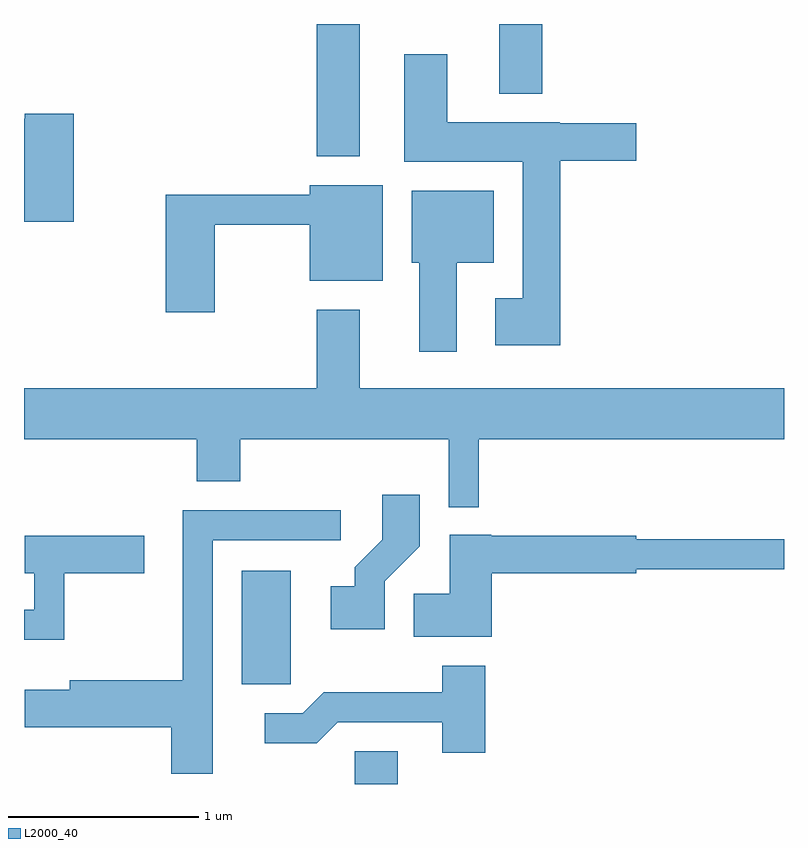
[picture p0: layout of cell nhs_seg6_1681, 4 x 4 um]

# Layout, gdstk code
import gdstk
lib = gdstk.Library(unit=1e-6, precision=1e-09)
def R(c, l, rs):  # rectangles x0, y0, x1, y1
    for r in rs: c.add(gdstk.rectangle(r[:2], r[2:], *l))
def P(c, l, *ps):  # polygons
    for p in ps: c.add(gdstk.Polygon(p, *l))
L2000_40 = (2000, 40)

nhs_seg6_1681 = lib.new_cell('nhs_seg6_1681')
R(nhs_seg6_1681, L2000_40, [(237.351,1608.162,237.579,1608.334), (236.756,1608.686,237.014,1609.284), (237.151,1611.466,237.379,1612.162), (238.111,1611.796,238.339,1612.162)])
P(nhs_seg6_1681, L2000_40, [(238.434,1611.441),(238.834,1611.441),(238.834,1611.639),(238.43,1611.639),(238.43,1611.644),(237.839,1611.644),(237.839,1612.004),(237.611,1612.004),(237.611,1611.436),(238.236,1611.436),(238.236,1610.719),(238.091,1610.719),(238.091,1610.471),(238.434,1610.471)],
  [(235.874,1611.689),(235.616,1611.689),(235.616,1611.664),(235.611,1611.664),(235.611,1611.121),(235.874,1611.121)],
  [(236.614,1611.106),(237.116,1611.106),(237.116,1610.811),(237.499,1610.811),(237.499,1611.314),(237.116,1611.314),(237.116,1611.264),(236.356,1611.264),(236.356,1610.646),(236.614,1610.646)],
  [(237.889,1610.906),(238.084,1610.906),(238.084,1611.284),(237.651,1611.284),(237.651,1610.906),(237.691,1610.906),(237.691,1610.436),(237.889,1610.436)],
  [(238.004,1609.976),(239.611,1609.976),(239.611,1610.244),(237.379,1610.244),(237.379,1610.659),(237.151,1610.659),(237.151,1610.244),(235.611,1610.244),(235.611,1609.976),(236.521,1609.976),(236.521,1609.756),(236.749,1609.756),(236.749,1609.976),(237.846,1609.976),(237.846,1609.618),(238.004,1609.618)],
  [(237.509,1609.229),(237.694,1609.414),(237.694,1609.684),(237.496,1609.684),(237.496,1609.447),(237.351,1609.302),(237.351,1609.204),(237.226,1609.204),(237.226,1608.976),(237.509,1608.976)],
  [(236.604,1609.446),(237.278,1609.446),(237.278,1609.604),(236.446,1609.604),(236.446,1608.709),(235.851,1608.709),(235.851,1608.659),(235.616,1608.659),(235.616,1608.461),(236.386,1608.461),(236.386,1608.216),(236.604,1608.216)],
  [(238.074,1609.271),(238.834,1609.271),(238.834,1609.291),(239.611,1609.291),(239.611,1609.449),(238.834,1609.449),(238.834,1609.469),(238.07,1609.469),(238.07,1609.474),(237.851,1609.474),(237.851,1609.164),(237.661,1609.164),(237.661,1608.936),(238.074,1608.936)],
  [(235.824,1609.271),(236.244,1609.271),(236.244,1609.469),(235.616,1609.469),(235.616,1609.271),(235.666,1609.271),(235.666,1609.079),(235.611,1609.079),(235.611,1608.921),(235.824,1608.921)],
  [(238.039,1608.784),(237.811,1608.784),(237.811,1608.644),(237.189,1608.644),(237.079,1608.534),(236.878,1608.534),(236.878,1608.376),(237.152,1608.376),(237.262,1608.486),(237.811,1608.486),(237.811,1608.326),(238.039,1608.326)])

lib.write_gds('nhs_seg6_1681.gds')
